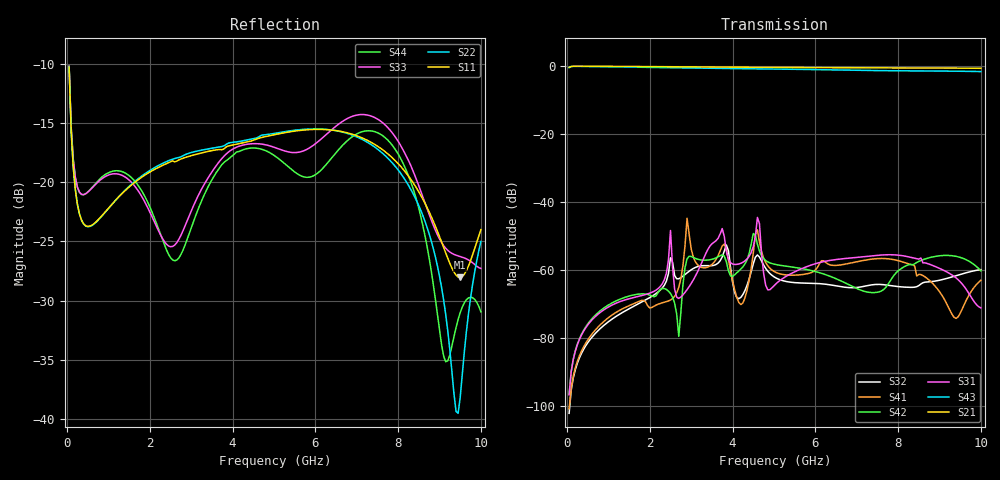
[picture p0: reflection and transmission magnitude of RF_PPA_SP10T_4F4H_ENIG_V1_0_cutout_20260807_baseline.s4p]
! Touchstone file exported from HFSS 3D Layout Design 2026.1.0
!  File:  D:/Work/ADS/SIMADS_EM_PAR/SP8T/RF-PPA-SP10T-4F4H-ENIG-V1.0.aedt
!  Generated:  10:44:44 PM Aug  7, 2026
!  Design:  RF-PPA-SP10T-4F4H-ENIG-V1.0_cutout
!  Project:  RF-PPA-SP10T-4F4H-ENIG-V1.0
! Variables:
!  BendModel = 0
# GHz S MA R 50.000000
! Terminal data exported
! Port[1] = Port1
! Port[2] = Port2
! Port[3] = Port3
! Port[4] = Port4
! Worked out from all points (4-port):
!   200 points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, 50 MHz to 10 GHz, reference 50 ohm
!   strongest paths, dB at 50 MHz, 2.55 GHz, 5.05 GHz, 7.55 GHz, 10 GHz:
!     S21: -0.4, -0.2, -0.4, -0.6, -0.7
!     S43: -0.5, -0.5, -0.9, -1.4, -1.6
!     S31: -96.7, -59.3, -64.1, -55.6, -71.2
!     S42: -96.6, -68.0, -58.4, -66.4, -60.3
!     S41: -100.8, -68.4, -60.7, -56.6, -63.0
!     S32: -102.2, -57.8, -62.4, -64.3, -59.9
!   lowest |S11| = -28.1 dB at 9.5 GHz (marker M1), VSWR 1.08, Z = 48.8 - j3.72 ohm
!   |S11| at or under -10 dB: start of sweep to end of sweep
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0.05  0.3059 -75.9  0.9503 15.5  1.456e-05 108.3  9.079e-06 -42.1
      0.9503 15.5  0.3061 -72.7  7.78e-06 -55.6  1.485e-05 113.2
      1.456e-05 108.3  7.78e-06 -55.6  0.3086 -75.7  0.9482 13.4
      9.079e-06 -42.1  1.485e-05 113.2  0.9482 13.4  0.3081 -77.0
2.25  0.1163 150.7  0.9752 -91.1  0.0005687 -145.0  0.0003213 158.5
      0.9752 -91.1  0.1185 -161.2  0.0005041 92.2  0.0005127 60.7
      0.0005687 -145.0  0.0005041 92.2  0.06033 118.8  0.9533 179.5
      0.0003213 158.5  0.0005127 60.7  0.9533 179.5  0.06076 59.7
2.9  0.1277 115.6  0.97 -117.3  0.0005129 177.8  0.005746 -42.4
     0.97 -117.3  0.1316 -178.9  0.000905 57.3  0.001458 132.2
     0.0005129 177.8  0.000905 57.3  0.06847 128.8  0.9414 127.3
     0.005746 -42.4  0.001458 132.2  0.9414 127.3  0.05718 -63.2
4.4  0.1483 31.9  0.9571 -177.9  0.001588 -113.3  0.0007028 -101.4
     0.9571 -177.9  0.1512 144.5  0.0007356 84.2  0.001744 104.1
     0.001588 -113.3  0.0007356 84.2  0.1448 35.2  0.9092 8.0
     0.0007028 -101.4  0.001744 104.1  0.9092 8.0  0.139 152.8
6.7  0.1625 -76.3  0.9406 89.3  0.001468 50.3  0.001209 23.5
     0.9406 89.3  0.1619 74.0  0.0005581 47.2  0.0006534 17.1
     0.001468 50.3  0.0005581 47.2  0.1825 -61.3  0.8678 -175.3
     0.001209 23.5  0.0006534 17.1  0.8678 -175.3  0.1454 -117.4
9.5  0.03957 -105.7  0.9297 -26.1  0.0006698 172.7  0.0002305 -59.9
     0.9297 -26.1  0.01233 -161.8  0.0008568 163.9  0.00153 18.8
     0.0006698 172.7  0.0008568 163.9  0.04851 -119.7  0.8365 -39.6
     0.0002305 -59.9  0.00153 18.8  0.8365 -39.6  0.02811 -162.2
10  0.06301 -74.9  0.9238 -47.3  0.0002766 176.5  0.0007061 -59.4
    0.9238 -47.3  0.05615 129.1  0.001011 123.9  0.0009705 -21.0
    0.0002766 176.5  0.001011 123.9  0.0432 -98.2  0.8277 -80.3
    0.0007061 -59.4  0.0009705 -21.0  0.8277 -80.3  0.02835 119.5
